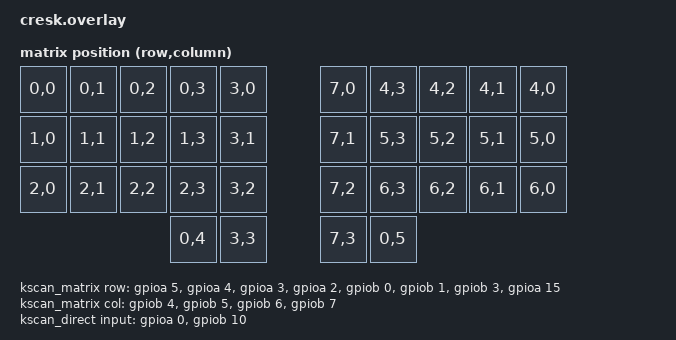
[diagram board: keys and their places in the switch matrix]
/*
 * Copyright (c) 2022 The ZMK Contributors
 *
 * SPDX-License-Identifier: MIT
 */

#include <dt-bindings/zmk/matrix_transform.h>

/ {
    chosen {
        zephyr,display = &oled;
        zmk,kscan = &kscan0;
        zmk,matrix_transform = &default_transform;
    };

    default_transform: keymap_transform_0 {
        compatible = "zmk,matrix-transform";
        columns = <6>;
        rows = <8>;

        map = <
RC(0,0) RC(0,1) RC(0,2) RC(0,3) RC(3,0) RC(7,0) RC(4,3) RC(4,2) RC(4,1) RC(4,0)
RC(1,0) RC(1,1) RC(1,2) RC(1,3) RC(3,1) RC(7,1) RC(5,3) RC(5,2) RC(5,1) RC(5,0)
RC(2,0) RC(2,1) RC(2,2) RC(2,3) RC(3,2) RC(7,2) RC(6,3) RC(6,2) RC(6,1) RC(6,0)
                        RC(0,4) RC(3,3) RC(7,3) RC(0,5)
        >;
    };

    kscan0: kscan {
        compatible = "zmk,kscan-composite";
        label = "KSCAN";

        matrix {
            kscan = <&kscan_matrix>;
        };

        direct {
            kscan = <&kscan_direct>;
            column-offset = <4>;
        };
    };

    kscan_matrix: kscan_matrix {
        compatible = "zmk,kscan-gpio-matrix";
        label = "KSCAN_MATRIX";
        diode-direction = "col2row";
        poll-period-ms = <1>;

        col-gpios
            = <&gpiob 4  GPIO_ACTIVE_HIGH>
            , <&gpiob 5  GPIO_ACTIVE_HIGH>
            , <&gpiob 6  GPIO_ACTIVE_HIGH>
            , <&gpiob 7  GPIO_ACTIVE_HIGH>
            ;
        row-gpios
            = <&gpioa 5  (GPIO_ACTIVE_HIGH | GPIO_PULL_DOWN)>
            , <&gpioa 4  (GPIO_ACTIVE_HIGH | GPIO_PULL_DOWN)>
            , <&gpioa 3  (GPIO_ACTIVE_HIGH | GPIO_PULL_DOWN)>
            , <&gpioa 2  (GPIO_ACTIVE_HIGH | GPIO_PULL_DOWN)>
            , <&gpiob 0  (GPIO_ACTIVE_HIGH | GPIO_PULL_DOWN)>
            , <&gpiob 1  (GPIO_ACTIVE_HIGH | GPIO_PULL_DOWN)>
            , <&gpiob 3  (GPIO_ACTIVE_HIGH | GPIO_PULL_DOWN)>
            , <&gpioa 15 (GPIO_ACTIVE_HIGH | GPIO_PULL_DOWN)>
            ;
    };

    kscan_direct: kscan_direct {
        compatible = "zmk,kscan-gpio-direct";
        label = "KSCAN_DIRECT";
        poll-period-ms = <1>;

        input-gpios
            = <&gpioa 0 (GPIO_ACTIVE_LOW | GPIO_PULL_UP)>
            , <&gpiob 10 (GPIO_ACTIVE_LOW | GPIO_PULL_UP)>
            ;
    };
};

arduino_i2c: &i2c1 {
    status = "okay";

    oled: ssd1306@3c {
        compatible = "solomon,ssd1306fb";
        reg = <0x3c>;
        label = "DISPLAY";
        width = <128>;
        height = <32>;
        segment-offset = <0>;
        page-offset = <0>;
        display-offset = <0>;
        multiplex-ratio = <31>;
        segment-remap;
        com-invdir;
        com-sequential;
        prechargep = <0x22>;
    };
};
